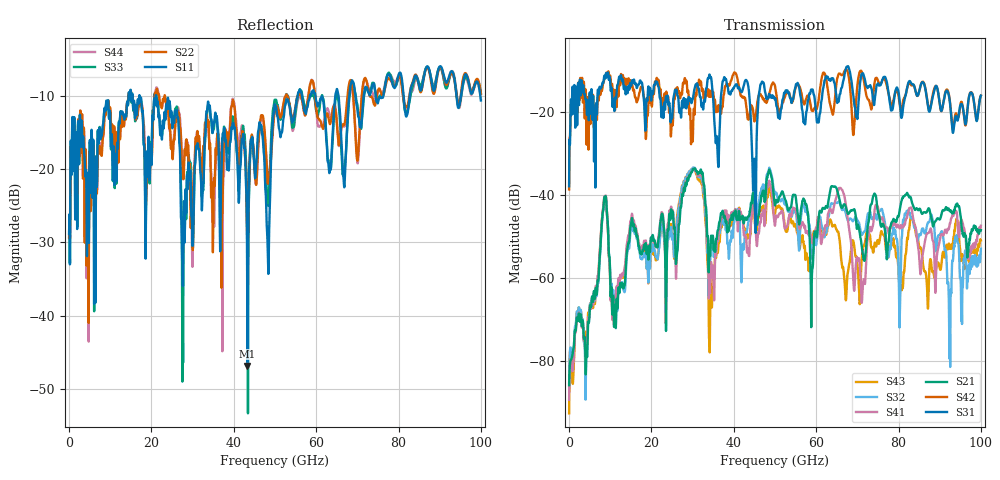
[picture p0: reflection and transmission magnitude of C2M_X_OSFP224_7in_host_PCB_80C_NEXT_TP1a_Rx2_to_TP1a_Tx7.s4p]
# GHz S RI R 45
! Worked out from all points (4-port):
!   4000 points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, 25 MHz to 100 GHz, reference 45 ohm
!   strongest paths, dB at 25 MHz, 25.02 GHz, 50.02 GHz, 75.03 GHz, 100 GHz:
!     S31: -37.9, -21.4, -16.7, -13.0, -16.0
!     S42: -38.6, -22.1, -13.7, -12.5, -15.9
!     S21: -85.9, -45.5, -42.5, -44.1, -48.5
!     S41: -89.4, -44.6, -47.3, -43.0, -47.4
!     S32: -85.4, -50.8, -39.7, -44.1, -53.0
!     S43: -92.7, -50.0, -44.5, -51.0, -51.0
!   lowest |S11| = -46.9 dB at 43.3 GHz (marker M1), VSWR 1.01, Z = 44.6 - j0.143 ohm
!   |S11| at or under -10 dB: start of sweep to 14.44 GHz; 21.15 GHz to 55.5 GHz (34.35 GHz wide, 89.6 % of centre); 59.83 GHz to 64.64 GHz (4.807 GHz wide, 7.72 % of centre) (the widest 3 of 14)
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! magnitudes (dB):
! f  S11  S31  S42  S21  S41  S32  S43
! 25 MHz  -28.8  -37.9  -38.6  -85.9  -89.4  -85.4  -92.7
! 8.625 GHz  -11.6  -11.2  -11.5  -40.4  -40.3  -40.6  -40.5
! 10.95 GHz  -17.9  -19.1  -14.7  -71.8  -70.0  -69.4  -70.2
! 30.15 GHz  -28.4  -16.3  -22.7  -33.7  -33.7  -33.3  -33.5
! 34.33 GHz  -12.5  -11.6  -15.8  -53.8  -60.4  -54.1  -63.3
! 43.3 GHz  -46.9  -12.7  -21.1  -45.5  -53.5  -47.9  -50.2
! 100 GHz  -10.6  -16.0  -15.9  -48.5  -47.4  -53.0  -51.0
